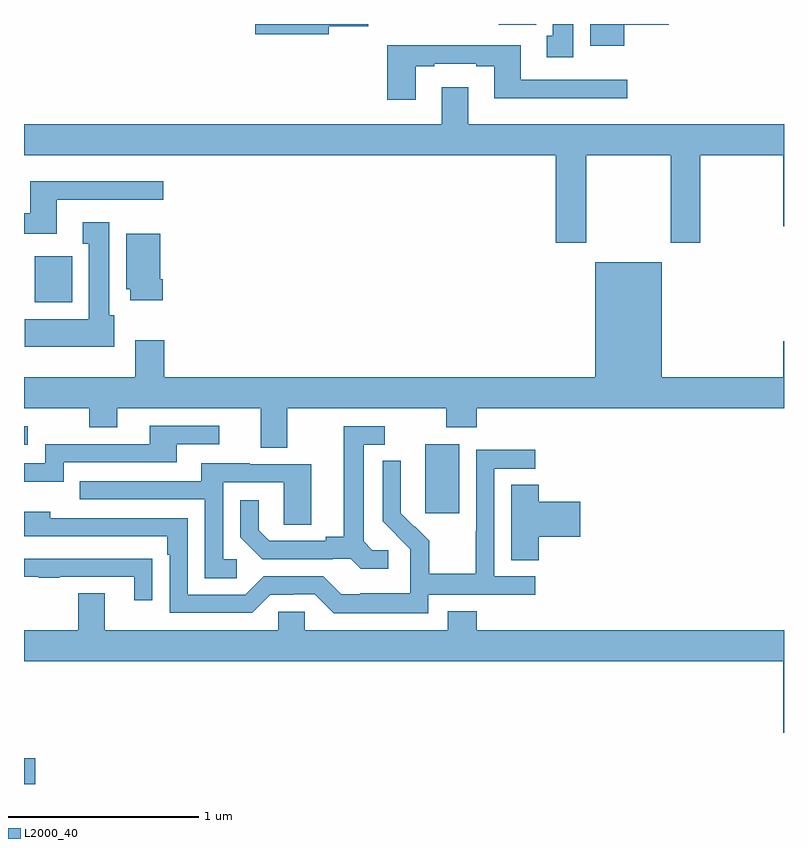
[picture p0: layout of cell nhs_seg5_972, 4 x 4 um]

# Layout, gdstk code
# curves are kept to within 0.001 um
import gdstk
lib = gdstk.Library(unit=1e-6, precision=1e-09)
def R(c, l, rs):  # rectangles x0, y0, x1, y1
    for r in rs: c.add(gdstk.rectangle(r[:2], r[2:], *l))
def P(c, l, *ps):  # polygons
    for p in ps: c.add(gdstk.Polygon(p, *l))
L2000_40 = (2000, 40)

nhs_seg5_972 = lib.new_cell('nhs_seg5_972')
R(nhs_seg5_972, L2000_40, [(173,838.799,173.059,838.934), (175.112,840.225,175.291,840.586), (173,840.585,173.02,840.681), (173.057,841.334,173.254,841.576), (175.499,842.796,175.695,842.799)])
P(nhs_seg5_972, L2000_40, [(176.158,842.795),(176.393,842.795),(176.393,842.799),(175.979,842.799),(175.979,842.684),(176.158,842.684)],
  [(175.891,842.799),(175.784,842.799),(175.784,842.737),(175.751,842.737),(175.751,842.625),(175.891,842.625)],
  [(174.604,842.788),(174.812,842.788),(174.812,842.799),(174.216,842.799),(174.216,842.746),(174.604,842.746)],
  [(175.063,842.577),(175.159,842.577),(175.159,842.589),(175.379,842.589),(175.379,842.577),(175.475,842.577),(175.475,842.408),(176.176,842.408),(176.176,842.505),(175.615,842.505),(175.615,842.686),(174.911,842.686),(174.911,842.4),(175.063,842.4)],
  [(175.199,842.467),(175.199,842.272),(173,842.272),(173,842.108),(175.799,842.108),(175.799,841.647),(175.959,841.647),(175.959,842.108),(176.404,842.108),(176.404,841.647),(176.559,841.647),(176.559,842.108),(176.996,842.108),(176.996,841.734),(177,841.734),(177,842.272),(175.339,842.272),(175.339,842.467)],
  [(173.173,841.875),(173.734,841.875),(173.734,841.972),(173.033,841.972),(173.033,841.804),(173,841.804),(173,841.694),(173.173,841.694)],
  [(173.476,841.266),(173.449,841.266),(173.449,841.756),(173.309,841.756),(173.309,841.643),(173.342,841.643),(173.342,841.246),(173.003,841.246),(173.003,841.1),(173.476,841.1)],
  [(173.729,841.456),(173.716,841.456),(173.716,841.696),(173.537,841.696),(173.537,841.404),(173.558,841.404),(173.558,841.344),(173.729,841.344)],
  [(174.385,840.776),(175.222,840.776),(175.222,840.677),(175.382,840.677),(175.382,840.776),(177,840.776),(177,841.129),(176.996,841.129),(176.996,840.94),(176.356,840.94),(176.356,841.546),(176.006,841.546),(176.006,840.94),(173.738,840.94),(173.738,841.135),(173.585,841.135),(173.585,840.94),(173,840.94),(173,840.776),(173.344,840.776),(173.344,840.677),(173.491,840.677),(173.491,840.776),(174.245,840.776),(174.245,840.568),(174.385,840.568)],
  [(173.208,840.492),(173.803,840.492),(173.803,840.588),(174.028,840.588),(174.028,840.684),(173.663,840.684),(173.663,840.588),(173.112,840.588),(173.112,840.486),(173,840.486),(173,840.389),(173.208,840.389)],
  [(174.916,840.03),(174.834,840.03),(174.787,840.077),(174.787,840.585),(174.898,840.585),(174.898,840.681),(174.683,840.681),(174.683,840.101),(174.587,840.101),(174.587,840.078),(174.292,840.078),(174.235,840.135),(174.235,840.292),(174.138,840.292),(174.138,840.098),(174.254,839.982),(174.626,839.982),(174.626,839.985),(174.72,839.985),(174.772,839.933),(174.916,839.933)],
  [(175.128,839.796),(175.69,839.796),(175.69,839.892),(175.476,839.892),(175.476,840.459),(175.69,840.459),(175.69,840.558),(175.38,840.558),(175.38,840.128),(175.378,840.128),(175.378,839.905),(175.133,839.905),(175.133,840.079),(175.056,840.156),(175.053,840.153),(174.983,840.224),(174.984,840.5),(174.888,840.5),(174.888,840.182),(175.034,840.034),(175.034,839.937),(175.032,839.937),(175.032,839.803),(174.769,839.803),(174.769,839.799),(174.669,839.799),(174.576,839.892),(174.261,839.892),(174.165,839.796),(173.862,839.796),(173.862,840.198),(173.138,840.198),(173.138,840.232),(173,840.232),(173,840.102),(173.753,840.102),(173.753,840.005),(173.766,840.005),(173.766,839.7),(174.201,839.7),(174.297,839.796),(174.416,839.796),(174.416,839.799),(174.531,839.799),(174.631,839.699),(175.128,839.699)],
  [(174.121,839.982),(174.048,839.982),(174.048,840.387),(174.366,840.387),(174.366,840.163),(174.511,840.163),(174.511,840.483),(174.187,840.483),(174.187,840.487),(173.933,840.487),(173.933,840.393),(173.293,840.393),(173.293,840.297),(173.952,840.297),(173.952,839.881),(174.121,839.881)],
  [(175.709,840.101),(175.927,840.101),(175.927,840.284),(175.709,840.284),(175.709,840.374),(175.565,840.374),(175.565,839.977),(175.709,839.977)],
  [(173.675,839.984),(173.573,839.984),(173.573,839.985),(173,839.985),(173,839.889),(173.077,839.889),(173.077,839.884),(173.189,839.884),(173.189,839.889),(173.579,839.889),(173.579,839.766),(173.675,839.766)],
  [(177,839.608),(175.382,839.608),(175.382,839.707),(175.229,839.707),(175.229,839.608),(174.477,839.608),(174.477,839.706),(174.339,839.706),(174.339,839.608),(173.425,839.608),(173.425,839.803),(173.285,839.803),(173.285,839.608),(173,839.608),(173,839.444),(176.996,839.444),(176.996,839.07),(177,839.07)])

lib.write_gds('nhs_seg5_972.gds')
